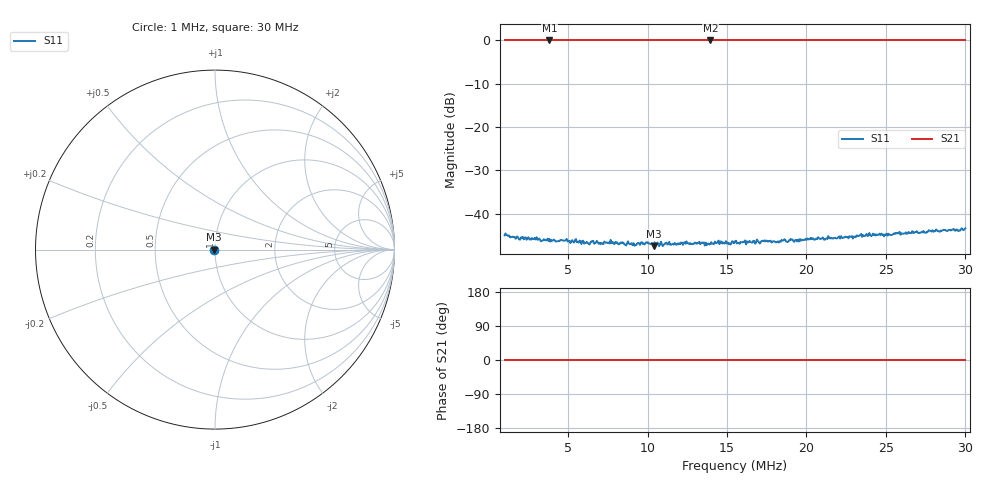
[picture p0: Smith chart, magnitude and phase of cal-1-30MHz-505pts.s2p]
# HZ S RI R 50
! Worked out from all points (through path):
!   505 points, 1 MHz to 30 MHz, reference 50 ohm
!   highest |S21| = 0.00 dB at 3.819 MHz (marker M1); lowest = 0.0 dB at 13.95 MHz (marker M2)
!   lowest |S11| = -47.5 dB at 10.38 MHz (marker M3), VSWR 1.01, Z = 49.6 - j0.087 ohm
!   |S11| at or under -10 dB: start of sweep to end of sweep
!   S12 and S22 are empty: the file has one direction only
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1000000  -0.00539 -0.00159  1 5.39e-18  0 0  0 0
1978180  -0.00498 -0.000525  1 -8.88e-18  0 0  0 0
3819460  -0.00509 -0.000373  1 7.2e-19  0 0  0 0
5833360  -0.00441 -0.000643  1 1.09e-18  0 0  0 0
6236140  -0.00454 -0.000485  1 -6.62e-18  0 0  0 0
7674640  -0.00489 -0.000846  1 2.22e-18  0 0  0 0
9170680  -0.0042 -0.000656  1 6.7e-19  0 0  0 0
9515920  -0.0043 -0.000651  1 3.12e-18  0 0  0 0
1.037902e7  -0.00411 -0.000877  1 -7.81e-19  0 0  0 0
1.066672e7  -0.00441 -0.00105  1 4.9e-18  0 0  0 0
1.39465e7  -0.00417 -0.00158  1 -7.73e-18  0 0  0 0
1.434928e7  -0.00424 -0.00168  1 8.68e-18  0 0  0 0
1.550008e7  -0.0044 -0.00186  1 3.36e-18  0 0  0 0
1.734136e7  -0.00442 -0.0021  1 2.7e-18  0 0  0 0
1.814692e7  -0.00414 -0.00225  1 1.04e-17  0 0  0 0
1.85497e7  -0.00414 -0.00259  1 6.36e-18  0 0  0 0
1.88374e7  -0.0041 -0.0023  1 1.16e-17  0 0  0 0
1.901002e7  -0.00431 -0.00274  1 -2.19e-18  0 0  0 0
1.929772e7  -0.0043 -0.00251  1 -1.15e-17  0 0  0 0
2.033344e7  -0.00439 -0.00253  1 2.93e-18  0 0  0 0
2.51668e7  -0.00443 -0.00384  1 5.66e-19  0 0  0 0
3.000016e7  -0.00497 -0.00458  1 -2.7e-18  0 0  0 0
